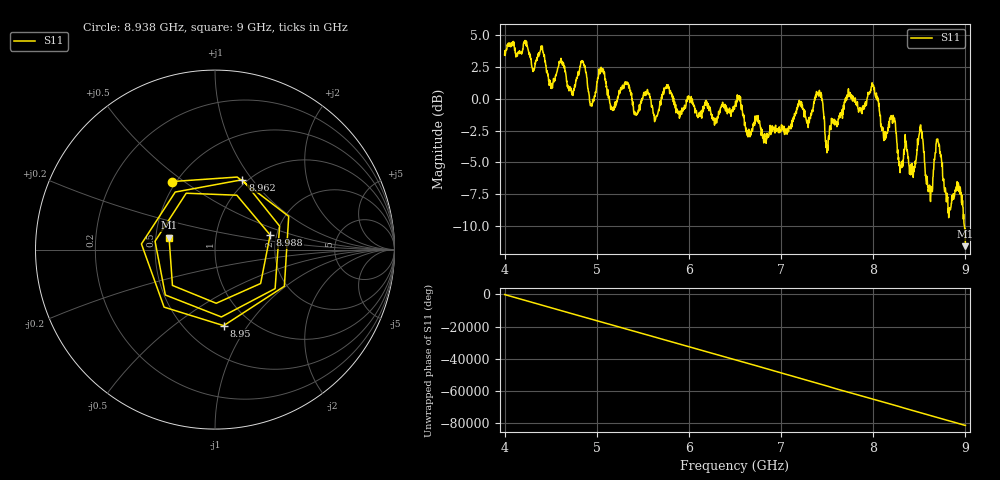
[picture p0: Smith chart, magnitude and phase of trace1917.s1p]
! Created with skrf 1.8.0 (http://scikit-rf.org).
# Hz S RI R 50.0
!freq ReS11 ImS11
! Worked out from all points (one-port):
!   1601 points, 4 GHz to 9 GHz, reference 50 ohm
!   lowest |S11| = -11.6 dB at 9 GHz (marker M1), VSWR 1.72, Z = 29.4 + j4.21 ohm
!   |S11| at or under -10 dB: 8.991069 GHz to end of sweep
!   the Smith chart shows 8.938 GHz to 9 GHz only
!   S11 on the Smith chart (normalised r, x): 8.938 GHz: 0.47, +0.45; 8.95 GHz: 0.75, -0.78; 8.962 GHz: 0.95, +0.90; 8.988 GHz: 1.85, +0.34; 9 GHz: 0.59, +0.08
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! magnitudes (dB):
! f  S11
! 4 GHz  3.4
! 4.503 GHz  0.8
! 4.625 GHz  2.9
! 4.731 GHz  0.3
! 4.85 GHz  2.9
! 4.944 GHz  -0.5
! 5.047 GHz  2.5
! 5.166 GHz  -0.9
! 5.25 GHz  0.4
! 5.875 GHz  -1.0
! 6.5 GHz  -0.6
! 6.825 GHz  -2.9
! 7.125 GHz  -1.6
! 7.406 GHz  0.2
! 7.5 GHz  -3.6
! 7.75 GHz  0.4
! 7.997 GHz  1.1
! 8.112 GHz  -3.0
! 8.375 GHz  -4.4
! 8.516 GHz  -2.1
! 8.616 GHz  -7.2
! 8.7 GHz  -3.2
! 8.819 GHz  -9.3
! 8.938 GHz  -6.9
! 8.95 GHz  -7.4
! 8.962 GHz  -7.6
! 8.988 GHz  -10.0
! 9 GHz  -11.6
